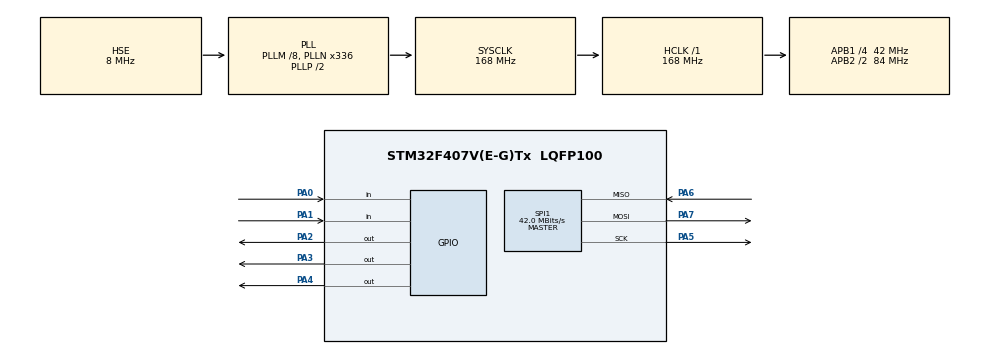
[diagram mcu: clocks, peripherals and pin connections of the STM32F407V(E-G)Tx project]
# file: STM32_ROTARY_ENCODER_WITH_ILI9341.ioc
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Mcu.Family=STM32F4
Mcu.Name=STM32F407V(E-G)Tx
Mcu.Package=LQFP100
NVIC.PriorityGroup=NVIC_PRIORITYGROUP_0
NVIC.TIM2_IRQn=true\:0\:0\:false\:false\:true\:true\:true\:true
PA0-WKUP.Signal=GPIO_Input
PA1.Signal=GPIO_Input
PA13.Mode=Serial_Wire
PA13.Signal=SYS_JTMS-SWDIO
PA14.Mode=Serial_Wire
PA14.Signal=SYS_JTCK-SWCLK
PA2.Signal=GPIO_Output
PA3.Signal=GPIO_Output
PA4.Signal=GPIO_Output
PA5.Mode=Full_Duplex_Master
PA5.Signal=SPI1_SCK
PA6.Mode=Full_Duplex_Master
PA6.Signal=SPI1_MISO
PA7.Mode=Full_Duplex_Master
PA7.Signal=SPI1_MOSI
PH0-OSC_IN.Mode=HSE-External-Oscillator
PH0-OSC_IN.Signal=RCC_OSC_IN
PH1-OSC_OUT.Mode=HSE-External-Oscillator
PH1-OSC_OUT.Signal=RCC_OSC_OUT
ProjectManager.HeapSize=0x200
ProjectManager.StackSize=0x400
ProjectManager.TargetToolchain=STM32CubeIDE
RCC.48MHZClocksFreq_Value=48000000
RCC.AHBFreq_Value=168000000
RCC.APB1CLKDivider=RCC_HCLK_DIV4
RCC.APB1Freq_Value=42000000
RCC.APB1TimFreq_Value=84000000
RCC.APB2CLKDivider=RCC_HCLK_DIV2
RCC.APB2Freq_Value=84000000
RCC.APB2TimFreq_Value=168000000
RCC.CortexFreq_Value=168000000
RCC.HCLKFreq_Value=168000000
RCC.HSE_VALUE=8000000
RCC.HSI_VALUE=16000000
RCC.LSE_VALUE=32768
RCC.PLLM=8
RCC.PLLN=336
RCC.PLLQ=7
RCC.PLLSourceVirtual=RCC_PLLSOURCE_HSE
RCC.SYSCLKFreq_VALUE=168000000
RCC.SYSCLKSource=RCC_SYSCLKSOURCE_PLLCLK
RCC.VCOOutputFreq_Value=336000000
SPI1.CalculateBaudRate=42.0 MBits/s
SPI1.Direction=SPI_DIRECTION_2LINES
SPI1.Mode=SPI_MODE_MASTER
SPI1.VirtualType=VM_MASTER
TIM2.Period=2999
TIM2.Prescaler=8399
VP_TIM2_VS_ClockSourceINT.Mode=Internal
board=STM32F407G-DISC1

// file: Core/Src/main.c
/* USER CODE BEGIN Header */
/**
  ******************************************************************************
  * @file           : main.c
  * @brief          : Main program body
  ******************************************************************************
  * @attention
  *
  * Copyright (c) 2025 STMicroelectronics.
  * All rights reserved.
  *
  * This software is licensed under terms that can be found in the LICENSE file
  * in the root directory of this software component.
  * If no LICENSE file comes with this software, it is provided AS-IS.
  *
  ******************************************************************************
  */
/* USER CODE END Header */
#include "main.h"

SPI_HandleTypeDef hspi1;

TIM_HandleTypeDef htim2;

void SystemClock_Config(void);
static void MX_GPIO_Init(void);
static void MX_SPI1_Init(void);
static void MX_TIM2_Init(void);

/* USER CODE BEGIN 0 */

#include "ILI9341.h"
#include "encoder.h"

#define ENCODER_A_PIN    GPIO_PIN_0
#define ENCODER_B_PIN    GPIO_PIN_1
#define ENCODER_GPIO     GPIOA

#define ENCODER_MIN      0
#define ENCODER_MAX      250

Rotary_Encoder encoder={
	  .A={ENCODER_GPIO, ENCODER_A_PIN},
	  .B={ENCODER_GPIO, ENCODER_B_PIN},
	  .MAX=ENCODER_MAX,
	  .MIN=ENCODER_MIN,
};

ILI9341_HandleTypeDef tft_lcd={
	  .hspi =&hspi1,
	  .CS   ={GPIOA, GPIO_PIN_4},
	  .RST  ={GPIOA, GPIO_PIN_2},
	  .DC   ={GPIOA, GPIO_PIN_3},
};

int count;

void HAL_TIM_PeriodElapsedCallback(TIM_HandleTypeDef *htim)
{
    if (htim->Instance == TIM2)
    {
    	ILI9341_Printf(&tft_lcd, 10, 154, "count: %04d", count);
    }
}
/* USER CODE END 0 */

int main(void)
{

  /* MCU Configuration--------------------------------------------------------*/

  /* Reset of all peripherals, Initializes the Flash interface and the Systick. */
  HAL_Init();

  /* Configure the system clock */
  SystemClock_Config();

  /* Initialize all configured peripherals */
  MX_GPIO_Init();
  MX_SPI1_Init();
  MX_TIM2_Init();
  /* USER CODE BEGIN 2 */

  	//ROTARY ENCODER
	Encoder_Init(&encoder);

	//ILI9341
	ILI9341_init(&tft_lcd);
	ILI9341_SetRotation(&tft_lcd, 0);
	ILI9341_FillScreen(&tft_lcd, ILI9341_BLUE);
	ILI9341_SetTextColor(&tft_lcd, ILI9341_BLACK);
	ILI9341_SetBackColor(&tft_lcd, ILI9341_YELLOW);

	ILI9341_SetFont(&tft_lcd, &Font24);
	ILI9341_String(&tft_lcd, 10,10,"Eren");
	ILI9341_String(&tft_lcd, 10,40,"Gokyildiz");
	HAL_Delay(1000);

	// Timer interrupt başlat
	HAL_TIM_Base_Start_IT(&htim2);

  /* USER CODE END 2 */

  /* Infinite loop */
  while (1)
  {

    /* USER CODE BEGIN 3 */
        Encoder_Update(&encoder);
        count = encoder.count;
        HAL_Delay(1);
  }
  /* USER CODE END 3 */
}

void SystemClock_Config(void)
{
  RCC_OscInitTypeDef RCC_OscInitStruct = {0};
  RCC_ClkInitTypeDef RCC_ClkInitStruct = {0};

  /** Configure the main internal regulator output voltage
  */
  __HAL_RCC_PWR_CLK_ENABLE();
  __HAL_PWR_VOLTAGESCALING_CONFIG(PWR_REGULATOR_VOLTAGE_SCALE1);

  /** Initializes the RCC Oscillators according to the specified parameters
  * in the RCC_OscInitTypeDef structure.
  */
  RCC_OscInitStruct.OscillatorType = RCC_OSCILLATORTYPE_HSE;
  RCC_OscInitStruct.HSEState = RCC_HSE_ON;
  RCC_OscInitStruct.PLL.PLLState = RCC_PLL_ON;
  RCC_OscInitStruct.PLL.PLLSource = RCC_PLLSOURCE_HSE;
  RCC_OscInitStruct.PLL.PLLM = 8;
  RCC_OscInitStruct.PLL.PLLN = 336;
  RCC_OscInitStruct.PLL.PLLP = RCC_PLLP_DIV2;
  RCC_OscInitStruct.PLL.PLLQ = 7;
  if (HAL_RCC_OscConfig(&RCC_OscInitStruct) != HAL_OK)
  {
    Error_Handler();
  }

  /** Initializes the CPU, AHB and APB buses clocks
  */
  RCC_ClkInitStruct.ClockType = RCC_CLOCKTYPE_HCLK|RCC_CLOCKTYPE_SYSCLK
                              |RCC_CLOCKTYPE_PCLK1|RCC_CLOCKTYPE_PCLK2;
  RCC_ClkInitStruct.SYSCLKSource = RCC_SYSCLKSOURCE_PLLCLK;
  RCC_ClkInitStruct.AHBCLKDivider = RCC_SYSCLK_DIV1;
  RCC_ClkInitStruct.APB1CLKDivider = RCC_HCLK_DIV4;
  RCC_ClkInitStruct.APB2CLKDivider = RCC_HCLK_DIV2;

  if (HAL_RCC_ClockConfig(&RCC_ClkInitStruct, FLASH_LATENCY_5) != HAL_OK)
  {
    Error_Handler();
  }
}

static void MX_SPI1_Init(void)
{

  /* SPI1 parameter configuration*/
  hspi1.Instance = SPI1;
  hspi1.Init.Mode = SPI_MODE_MASTER;
  hspi1.Init.Direction = SPI_DIRECTION_2LINES;
  hspi1.Init.DataSize = SPI_DATASIZE_8BIT;
  hspi1.Init.CLKPolarity = SPI_POLARITY_LOW;
  hspi1.Init.CLKPhase = SPI_PHASE_1EDGE;
  hspi1.Init.NSS = SPI_NSS_SOFT;
  hspi1.Init.BaudRatePrescaler = SPI_BAUDRATEPRESCALER_2;
  hspi1.Init.FirstBit = SPI_FIRSTBIT_MSB;
  hspi1.Init.TIMode = SPI_TIMODE_DISABLE;
  hspi1.Init.CRCCalculation = SPI_CRCCALCULATION_DISABLE;
  hspi1.Init.CRCPolynomial = 10;
  if (HAL_SPI_Init(&hspi1) != HAL_OK)
  {
    Error_Handler();
  }

}

static void MX_TIM2_Init(void)
{

  TIM_ClockConfigTypeDef sClockSourceConfig = {0};
  TIM_MasterConfigTypeDef sMasterConfig = {0};

  htim2.Instance = TIM2;
  htim2.Init.Prescaler = 8399;
  htim2.Init.CounterMode = TIM_COUNTERMODE_UP;
  htim2.Init.Period = 2999;
  htim2.Init.ClockDivision = TIM_CLOCKDIVISION_DIV1;
  htim2.Init.AutoReloadPreload = TIM_AUTORELOAD_PRELOAD_DISABLE;
  if (HAL_TIM_Base_Init(&htim2) != HAL_OK)
  {
    Error_Handler();
  }
  sClockSourceConfig.ClockSource = TIM_CLOCKSOURCE_INTERNAL;
  if (HAL_TIM_ConfigClockSource(&htim2, &sClockSourceConfig) != HAL_OK)
  {
    Error_Handler();
  }
  sMasterConfig.MasterOutputTrigger = TIM_TRGO_RESET;
  sMasterConfig.MasterSlaveMode = TIM_MASTERSLAVEMODE_DISABLE;
  if (HAL_TIMEx_MasterConfigSynchronization(&htim2, &sMasterConfig) != HAL_OK)
  {
    Error_Handler();
  }

}

static void MX_GPIO_Init(void)
{
  GPIO_InitTypeDef GPIO_InitStruct = {0};

  /* GPIO Ports Clock Enable */
  __HAL_RCC_GPIOH_CLK_ENABLE();
  __HAL_RCC_GPIOA_CLK_ENABLE();

  /*Configure GPIO pin Output Level */
  HAL_GPIO_WritePin(GPIOA, GPIO_PIN_2|GPIO_PIN_3|GPIO_PIN_4, GPIO_PIN_RESET);

  /*Configure GPIO pins : PA0 PA1 */
  GPIO_InitStruct.Pin = GPIO_PIN_0|GPIO_PIN_1;
  GPIO_InitStruct.Mode = GPIO_MODE_INPUT;
  GPIO_InitStruct.Pull = GPIO_NOPULL;
  HAL_GPIO_Init(GPIOA, &GPIO_InitStruct);

  /*Configure GPIO pins : PA2 PA3 PA4 */
  GPIO_InitStruct.Pin = GPIO_PIN_2|GPIO_PIN_3|GPIO_PIN_4;
  GPIO_InitStruct.Mode = GPIO_MODE_OUTPUT_PP;
  GPIO_InitStruct.Pull = GPIO_NOPULL;
  GPIO_InitStruct.Speed = GPIO_SPEED_FREQ_LOW;
  HAL_GPIO_Init(GPIOA, &GPIO_InitStruct);

}

void Error_Handler(void)
{
  __disable_irq();
  while (1)
  {
  }
}
